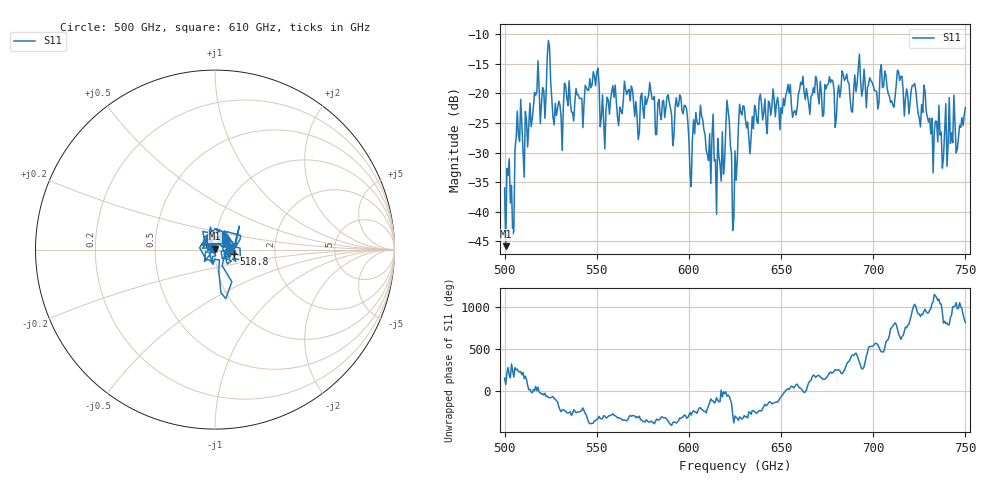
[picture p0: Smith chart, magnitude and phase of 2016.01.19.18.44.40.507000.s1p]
!Created with skrf (http://scikit-rf.org).
# GHz S RI R 50.0
!freq ReS11 ImS11
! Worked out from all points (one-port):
!   401 points, 500 GHz to 750 GHz, reference 50 ohm
!   lowest |S11| = -45.8 dB at 500.6 GHz (marker M1), VSWR 1.01, Z = 50.1 + j0.501 ohm
!   |S11| at or under -10 dB: start of sweep to end of sweep
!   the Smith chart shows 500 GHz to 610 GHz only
!   S11 on the Smith chart (normalised r, x): 500 GHz: 0.97, +0.02; 518.8 GHz: 1.23, -0.06; 610 GHz: 0.95, +0.03
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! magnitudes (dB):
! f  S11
! 500 GHz  -36.0
! 500.6 GHz  -45.8
! 504.4 GHz  -43.8
! 507.5 GHz  -27.1
! 511.2 GHz  -23.0
! 518.8 GHz  -19.4
! 524.4 GHz  -12.3
! 526.9 GHz  -25.3
! 531.2 GHz  -29.6
! 549.4 GHz  -18.7
! 553.1 GHz  -20.3
! 558.8 GHz  -18.7
! 562.5 GHz  -22.3
! 593.8 GHz  -22.2
! 600.6 GHz  -33.5
! 605 GHz  -25.3
! 610 GHz  -30.3
! 616.2 GHz  -30.6
! 621.2 GHz  -22.8
! 625 GHz  -29.7
! 628.8 GHz  -23.7
! 632.5 GHz  -27.6
! 656.2 GHz  -24.0
! 687.5 GHz  -21.1
! 714.4 GHz  -17.8
! 718.8 GHz  -20.4
! 738.8 GHz  -26.3
! 750 GHz  -22.4
